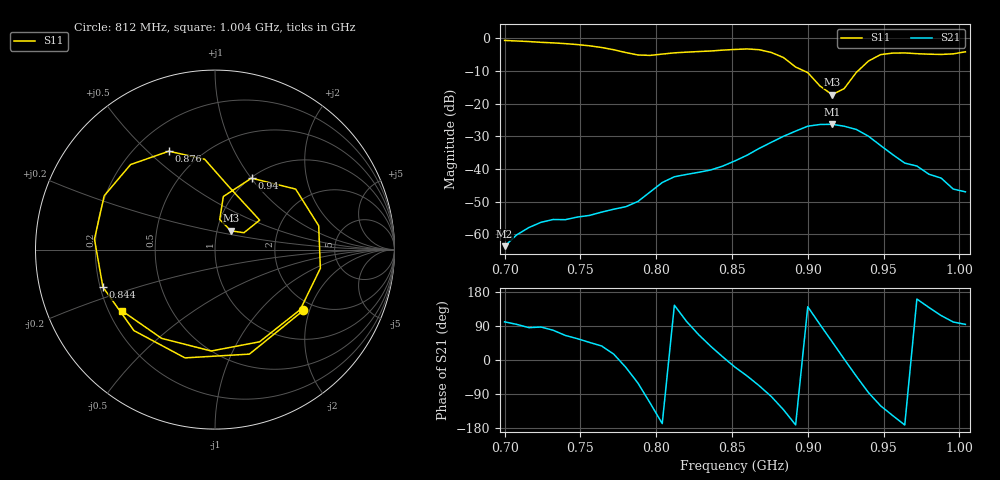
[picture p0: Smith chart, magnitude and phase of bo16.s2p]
# Hz S RI R 50
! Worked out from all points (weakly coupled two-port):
!   39 points, 700 MHz to 1.004 GHz, reference 50 ohm
!   highest |S21| = -26.33 dB at 916 MHz (marker M1); lowest = -63.6 dB at 700 MHz (marker M2)
!   lowest |S11| = -17.3 dB at 916 MHz (marker M3), VSWR 1.32, Z = 58.3 + j12.4 ohm
!   |S11| at or under -10 dB: 897.6 MHz to 933.1 MHz (35.49 MHz wide, 3.88 % of centre)
!   S12 and S22 are empty: the file has one direction only
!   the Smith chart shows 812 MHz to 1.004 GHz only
!   S11 on the Smith chart (normalised r, x): 812 MHz: 1.73, -1.82; 844 MHz: 0.21, -0.16; 876 MHz: 0.34, +0.58; 940 MHz: 1.01, +1.00; 1.004 GHz: 0.25, -0.28
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7e8  0.7618 0.5254  -0.000123 0.000648  0 0  0 0
7.24e8  0.8257 -0.2628  7.85e-05 0.00153  0 0  0 0
7.4e8  0.4405 -0.7005  0.00071 0.00152  0 0  0 0
7.56e8  -0.2006 -0.7396  0.00134 0.00141  0 0  0 0
7.72e8  -0.646 -0.1659  0.00234 0.000645  0 0  0 0
7.8e8  -0.5502 0.2488  0.0025 -0.000884  0 0  0 0
7.88e8  -0.1805 0.5244  0.00154 -0.00279  0 0  0 0
7.96e8  0.2905 0.4631  -0.00178 -0.00407  0 0  0 0
8.04e8  0.5655 0.0886  -0.00606 -0.00132  0 0  0 0
8.12e8  0.493 -0.3386  -0.00619 0.00441  0 0  0 0
8.28e8  -0.1674 -0.6033  0.00349 0.00818  0 0  0 0
8.44e8  -0.6245 -0.2089  0.011 0.00153  0 0  0 0
8.52e8  -0.6716 0.0581  0.0126 -0.0043  0 0  0 0
8.76e8  -0.2572 0.5482  -0.00293 -0.0255  0 0  0 0
9e8  0.2488 0.1642  -0.0349 0.0287  0 0  0 0
9.08e8  0.1614 0.094  -0.00335 0.0478  0 0  0 0
9.16e8  0.0887 0.1046  0.0319 0.0362  0 0  0 0
9.4e8  0.2034 0.398  0.00238 -0.0317  0 0  0 0
9.56e8  0.5778 0.1327  -0.0139 -0.00917  0 0  0 0
9.64e8  0.587 -0.1044  -0.0122 -0.00179  0 0  0 0
9.8e8  0.2486 -0.5135  -0.00622 0.00549  0 0  0 0
1.004e9  -0.5196 -0.3403  -0.000315 0.00446  0 0  0 0
